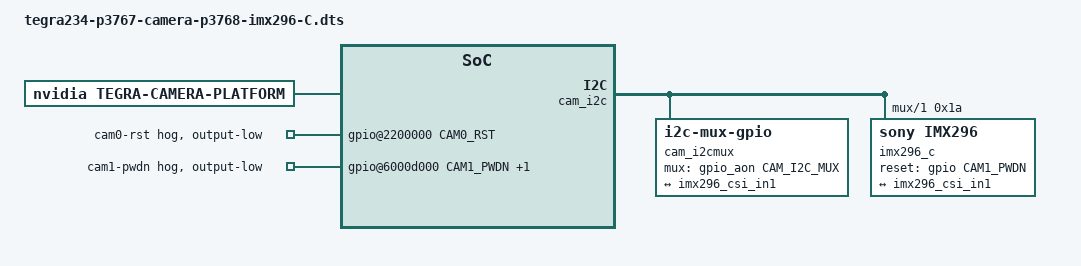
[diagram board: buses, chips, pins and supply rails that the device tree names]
// SPDX-License-Identifier: GPL-2.0-only
// SPDX-FileCopyrightText: Copyright (c) 2023-2024 NVIDIA CORPORATION & AFFILIATES. All rights reserved.

/dts-v1/;
/plugin/;

#define CAM0_RST	TEGRA234_MAIN_GPIO(H, 3)
#define CAM0_PWDN	TEGRA234_MAIN_GPIO(H, 6)
#define CAM1_PWDN	TEGRA234_MAIN_GPIO(AC, 0)
#define CAM_I2C_MUX 	TEGRA234_AON_GPIO(CC, 3)

#include <dt-bindings/tegra234-p3767-0000-common.h>

/ {
	overlay-name = "Camera IMX296-C";
	jetson-header-name = "Jetson 22pin CSI Connector";
	compatible = JETSON_COMPATIBLE_P3768;

	/* IMX296 sensor module on CSI PORT B / cam0 */
	fragment@0 {
		target-path = "/";
		__overlay__ {
			tegra-capture-vi  {
				num-channels = <1>;
				ports {
					#address-cells = <1>;
					#size-cells = <0>;
					vi_port1: port@1 {
						reg = <0>;
						imx296_vi_in1: endpoint {
							port-index = <2>;
							bus-width = <1>;
							remote-endpoint = <&imx296_csi_out1>;
						};
					};
				};
			};
			tegra-camera-platform {
				compatible = "nvidia, tegra-camera-platform";
				/**
				 * The general guideline for naming badge_info contains 3 parts, and is as follows,
				 * The first part is the camera_board_id for the module; if the module is in a FFD
				 * platform, then use the platform name for this part.
				 * The second part contains the position of the module, ex. "rear" or "front".
				 * The third part contains the last 6 characters of a part number which is found
				 * in the module's specsheet from the vendor.
				 */
				modules {
					cam_module1: module1 {
						badge = "jakku_rear_RBP296";
						position = "rear";
						orientation = "1";
						cam_module1_drivernode0: drivernode0 {
							pcl_id = "v4l2_sensor";
							sysfs-device-tree = "/sys/firmware/devicetree/base/bus@0/cam_i2cmux/i2c@1/imx296_c@1a";
						};
					};
				};
			};
			bus@0 {
				host1x@13e00000 {
					nvcsi@15a00000 {
						num-channels = <1>;
						#address-cells = <1>;
						#size-cells = <0>;
						csi_chan1: channel@1 {
							reg = <0>;
							ports {
								#address-cells = <1>;
								#size-cells = <0>;
								csi_chan1_port0: port@0 {
									reg = <0>;
									imx296_csi_in1: endpoint@2 {
										port-index = <2>;
										bus-width = <1>;
										remote-endpoint = <&imx296_out1>;
									};
								};
								csi_chan1_port1: port@1 {
									reg = <1>;
									imx296_csi_out1: endpoint@3 {
										remote-endpoint = <&imx296_vi_in1>;
									};
								};
							};
						};
					};
				};
				cam_i2cmux {
					status = "okay";
					compatible = "i2c-mux-gpio";
					#address-cells = <1>;
					#size-cells = <0>;
					mux-gpios = <&gpio_aon CAM_I2C_MUX GPIO_ACTIVE_HIGH>;
					i2c-parent = <&cam_i2c>;
					i2c@0 {
						imx296_a@1a {
							status = "disabled";
						};
					};
					i2c@1 {
						status = "okay";
						reg = <1>;
						#address-cells = <1>;
						#size-cells = <0>;
						imx296_c@1a {
							reset-gpios = <&gpio CAM1_PWDN GPIO_ACTIVE_HIGH>;
							compatible = "sony,imx296";
							/* I2C device address */
							reg = <0x1a>;
							/* V4L2 device node location */
							devnode = "video0";
							/* Physical dimensions of sensor */
							physical_w = "4.968";
							physical_h = "3.726";
							sensor_model = "imx296";
							use_sensor_mode_id = "true";
							mode0 { /* IMX296_MODE_1456x1088_60FPS */
								mclk_khz = "37125";
								num_lanes = "1";
								tegra_sinterface = "serial_c";
								phy_mode = "DPHY";
								discontinuous_clk = "yes";
								dpcm_enable = "false";
								cil_settletime = "0";
								lane_polarity = "0";

								active_w = "1456";
								active_h = "1088";
								mode_type = "bayer";
								pixel_phase = "gbrg";
								csi_pixel_bit_depth = "10";
								dynamic_pixel_bit_depth = "10";

								readout_orientation = "0";
								line_length = "1100";
								inherent_gain = "1";
								pix_clk_hz = "118800000";

								gain_factor = "1";
								min_gain_val = "0";
								max_gain_val = "480";
								step_gain_val = "1";
								default_gain = "0";
								min_hdr_ratio = "1";
								max_hdr_ratio = "1";
								framerate_factor = "1000000";
								min_framerate = "1000000";
								max_framerate = "60000000";
								default_framerate = "30000000";
								step_framerate = "1";
								exposure_factor = "1000000";
								min_exp_time = "30";
								max_exp_time = "660000";
								step_exp_time = "1";
								default_exp_time = "16667";

								embedded_metadata_height = "2";
							};
							ports {
								#address-cells = <1>;
								#size-cells = <0>;
								port@0 {
									reg = <0>;
									imx296_out1: endpoint {
										status = "okay";
										port-index = <2>;
										bus-width = <1>;
										remote-endpoint = <&imx296_csi_in1>;
									};
								};
							};
						};
					};
				};
				gpio@2200000 {
					camera-control-output-low {
						gpio-hog;
						output-low;
						gpios = <CAM0_RST 0>;
						label = "cam0-rst";
					};
				};
				gpio@6000d000 {
					camera-control-output-low {
						gpio-hog;
						output-low;
						gpios = < CAM1_PWDN 0  CAM0_PWDN 0>;
						label = "cam1-pwdn", "cam0-pwdn";
					};
				};
			};
		};
	};
};
